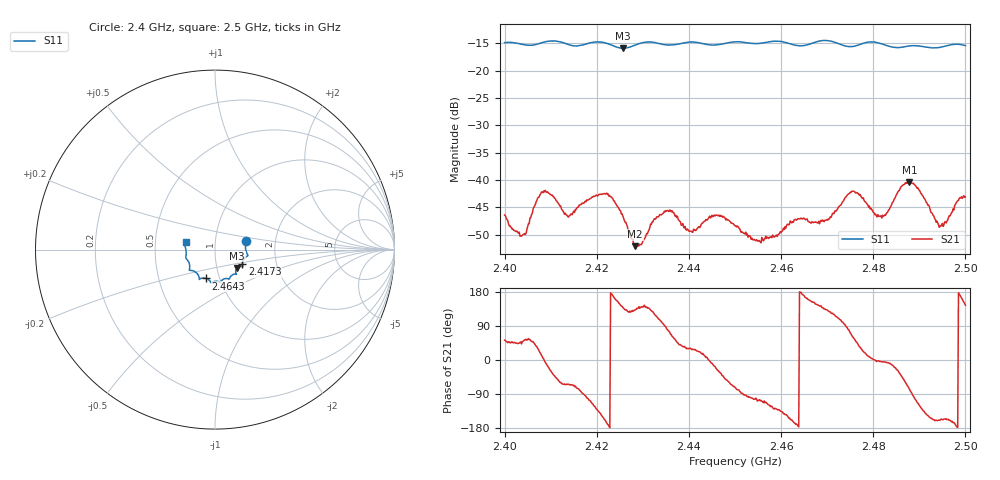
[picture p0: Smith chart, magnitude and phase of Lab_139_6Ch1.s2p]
# Hz S RI R 50
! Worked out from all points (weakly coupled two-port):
!   601 points, 2.4 GHz to 2.5 GHz, reference 50 ohm
!   highest |S21| = -40.39 dB at 2.4878 GHz (marker M1); lowest = -52.1 dB at 2.4283 GHz (marker M2)
!   lowest |S11| = -15.9 dB at 2.4257 GHz (marker M3), VSWR 1.38, Z = 62.4 - j13.1 ohm
!   |S11| at or under -10 dB: start of sweep to end of sweep
!   S12 and S22 are empty: the file has one direction only
!   S11 on the Smith chart (normalised r, x): 2.4 GHz: 1.41, +0.14; 2.4173 GHz: 1.34, -0.23; 2.4643 GHz: 0.86, -0.28; 2.5 GHz: 0.72, +0.06
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2.4e9  0.173 0.0496  0.00292 0.00379  0 0  0 0
2.403833e9  0.1718 0.0269  0.00205 0.00235  0 0  0 0
2.408333e9  0.1795 -0.0235  0.00761 0.000637  0 0  0 0
2.4135e9  0.1693 -0.0432  0.00212 -0.00426  0 0  0 0
2.416667e9  0.1529 -0.0746  0.000531 -0.00595  0 0  0 0
2.417333e9  0.1525 -0.082  -0.000281 -0.00625  0 0  0 0
2.422e9  0.1512 -0.0943  -0.00716 -0.00224  0 0  0 0
2.425667e9  0.1225 -0.1023  -0.00349 0.00309  0 0  0 0
2.428333e9  0.1154 -0.1263  -0.00166 0.00184  0 0  0 0
2.433333e9  0.1128 -0.1365  -0.00151 0.00433  0 0  0 0
2.440333e9  0.0795 -0.1639  0.00291 0.00176  0 0  0 0
2.4455e9  0.0512 -0.163  0.00459 -0.00133  0 0  0 0
2.45e9  0.0297 -0.1806  0.00118 -0.00362  0 0  0 0
2.455167e9  0.000362 -0.1768  -0.000814 -0.00268  0 0  0 0
2.464333e9  -0.0504 -0.1605  -0.00448 0.000103  0 0  0 0
2.466667e9  -0.0763 -0.1599  -0.00369 0.00186  0 0  0 0
2.4755e9  -0.1115 -0.1226  0.00374 0.00691  0 0  0 0
2.480833e9  -0.1426 -0.1105  0.00458 -0.000235  0 0  0 0
2.483333e9  -0.141 -0.0896  0.00526 -0.000695  0 0  0 0
2.487833e9  -0.1598 -0.0515  0.00228 -0.00928  0 0  0 0
2.494667e9  -0.1632 0.00633  -0.00346 -0.0015  0 0  0 0
2.5e9  -0.1638 0.0421  -0.0057 0.00403  0 0  0 0
